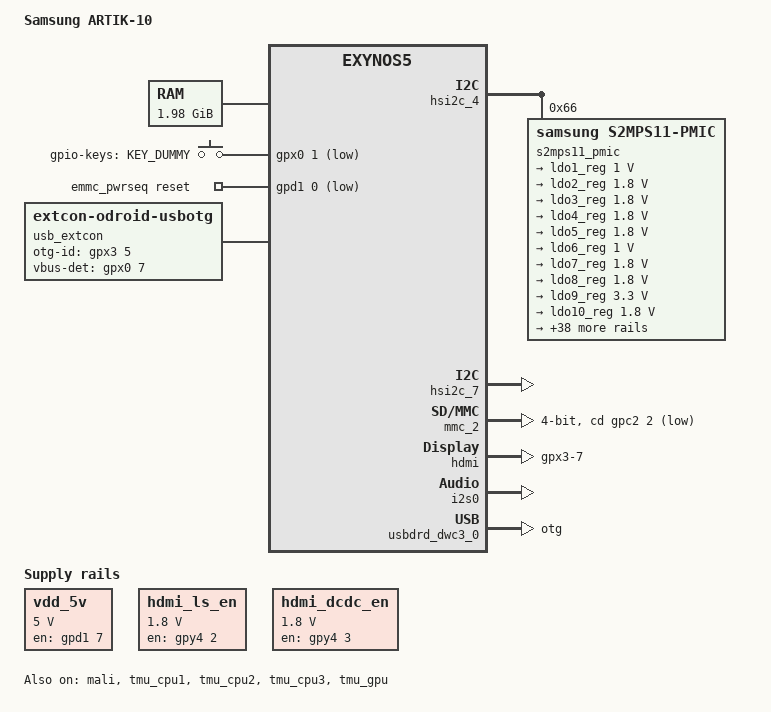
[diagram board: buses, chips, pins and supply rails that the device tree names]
/*
 * Samsung's Exynos5422-based ARTIK-10 board device tree source
 *
 * Copyright (c) 2015 Samsung Electronics Co., Ltd.
 *		http://www.samsung.com
 *
 * Device tree source file for Samsung's ARTIK-10 board which is based on
 * Samsung Exynos5422 SoC.
 *
 * This program is free software; you can redistribute it and/or modify
 * it under the terms of the GNU General Public License version 2 as
 * published by the Free Software Foundation.
 */

/dts-v1/;
#include <dt-bindings/sound/samsung-i2s.h>
#include "exynos5800.dtsi"

/ {
	model = "Samsung ARTIK-10";
	compatible = "samsung,artik-10", "samsung,exynos5800", "samsung,exynos5";

	memory {
		reg = <0x40000000 0x7EA00000>;
	};

	chosen {
		bootargs = "console=ttySAC3,115200N8 root=/dev/mmcblk0p2 rootwait earlyprintk drm_kms_helper.edid_firmware=edid/1920x1080.bin";
	};

	firmware@02073000 {
		compatible = "samsung,secure-firmware";
		reg = <0x02073000 0x1000>;
	};

	fixed-rate-clocks {
		oscclk {
			compatible = "samsung,exynos5420-oscclk";
			clock-frequency = <24000000>;
		};
	};

	gpio_keys {
		compatible = "gpio-keys";
		#address-cells = <1>;
		#size-cells = <0>;

		button@1 {
			label = "gpio-keys: KEY_DUMMY";
			interrupts = <1 0 0>;		/* dummy gpio interrupt */
			interrupt-parent = <&gpx0>;
			linux,code = <116>;
			gpios = <&gpx0 1 0xf>;
		};
	};

	emmc_pwrseq: pwrseq {
		pinctrl-0 = <&emmc_nrst_pin>;
		pinctrl-names = "default";
		compatible = "mmc-pwrseq-emmc";
		reset-gpios = <&gpd1 0 1>;
	};

	regulators {
		compatible = "simple-bus";
		#address-cells = <1>;
		#size-cells = <0>;

		vdd_5v: voltage-regulator-0 {
			compatible = "regulator-fixed";
			regulator-name = "VDD_5V";
			regulator-min-microvolt = <5000000>;
			regulator-max-microvolt = <5000000>;
			gpio = <&gpd1 7 0>;
			enable-active-high;
			regulator-always-on;
		};

		hdmi_ls_en: voltage-regulator-1 {
			compatible = "regulator-fixed";
			regulator-name = "HDMI_LS_EN";
			regulator-min-microvolt = <1800000>;
			regulator-max-microvolt = <1800000>;
			gpio = <&gpy4 2 0>;
			enable-active-high;
			regulator-always-on;
		};

		hdmi_dcdc_en: voltage-regulator-2 {
			compatible = "regulator-fixed";
			regulator-name = "HDMI_DCDC_EN";
			regulator-min-microvolt = <1800000>;
			regulator-max-microvolt = <1800000>;
			gpio = <&gpy4 3 0>;
			enable-active-high;
			regulator-always-on;
		};
	};

	usb_extcon: usbotg {
		compatible = "extcon-odroid-usbotg";
		pinctrl-names = "default";
		pinctrl-0 = <&otg_ida &vbus_deta>;
		otg-id-gpio = <&gpx3 5 0>;
		vbus-det-gpio = <&gpx0 7 0>;
	};

	sound {
		compatible = "samsung,artikpro-hdmi";
		samsung,i2s-controller = <&i2s0>;
		samsung,model ="ARTIK-10";

		clocks = <&clock_audss EXYNOS_DOUT_AUD_BUS>;
		clock-names = "rclksrc";
	};
};

&hsi2c_4 {
	status = "okay";

	s2mps11_pmic@66 {
		compatible = "samsung,s2mps11-pmic";
		reg = <0x66>;
		s2mps11,buck2-ramp-delay = <12>;
		s2mps11,buck34-ramp-delay = <12>;
		s2mps11,buck16-ramp-delay = <12>;
		s2mps11,buck6-ramp-enable = <1>;
		s2mps11,buck2-ramp-enable = <1>;
		s2mps11,buck3-ramp-enable = <1>;
		s2mps11,buck4-ramp-enable = <1>;

		s2mps11_osc: clocks {
			#clock-cells = <1>;
			clock-output-names = "s2mps11_ap",
					"s2mps11_cp", "s2mps11_bt";
		};

		regulators {
			ldo1_reg: LDO1 {
				regulator-name = "PVDD_ALIVE_1V0";
				regulator-min-microvolt = <1000000>;
				regulator-max-microvolt = <1000000>;
				regulator-always-on;
			};

			ldo2_reg: LDO2 {
				regulator-name = "PVDD_ALIVE_1V8";
				regulator-min-microvolt = <1800000>;
				regulator-max-microvolt = <1800000>;
				regulator-always-on;
			};

			ldo3_reg: LDO3 {
				regulator-name = "PVDD_APIO_MMCON_1V8";
				regulator-min-microvolt = <1800000>;
				regulator-max-microvolt = <1800000>;
				regulator-always-on;
			};

			ldo4_reg: LDO4 {
				regulator-name = "PVDD_ADC_1V8";
				regulator-min-microvolt = <1800000>;
				regulator-max-microvolt = <1800000>;
				regulator-always-on;
			};

			ldo5_reg: LDO5 {
				regulator-name = "PVDD_PLL_1V8";
				regulator-min-microvolt = <1800000>;
				regulator-max-microvolt = <1800000>;
				regulator-always-on;
			};

			ldo6_reg: LDO6 {
				regulator-name = "PVDD_ANAIP_1V0";
				regulator-min-microvolt = <1000000>;
				regulator-max-microvolt = <1000000>;
				regulator-always-on;
			};

			ldo7_reg: LDO7 {
				regulator-name = "PVDD_ANAIP_1V8";
				regulator-min-microvolt = <1800000>;
				regulator-max-microvolt = <1800000>;
				regulator-always-on;
			};

			ldo8_reg: LDO8 {
				regulator-name = "PVDD_ABB_1V8";
				regulator-min-microvolt = <1800000>;
				regulator-max-microvolt = <1800000>;
				regulator-always-on;
			};

			ldo9_reg: LDO9 {
				regulator-name = "PVDD_USB_3V3";
				regulator-min-microvolt = <3300000>;
				regulator-max-microvolt = <3300000>;
				regulator-always-on;
			};

			ldo10_reg: LDO10 {
				regulator-name = "PVDD_PRE_1V8";
				regulator-min-microvolt = <1800000>;
				regulator-max-microvolt = <1800000>;
				regulator-always-on;
			};

			ldo11_reg: LDO11 {
				regulator-name = "PVDD_USB_1V0";
				regulator-min-microvolt = <1000000>;
				regulator-max-microvolt = <1000000>;
				regulator-always-on;
			};

			ldo12_reg: LDO12 {
				regulator-name = "PVDD_HSIC_1V8";
				regulator-min-microvolt = <1800000>;
				regulator-max-microvolt = <1800000>;
				regulator-always-on;
			};

			ldo13_reg: LDO13 {
				regulator-name = "PVDD_APIO_MMCOFF_2V8";
				regulator-min-microvolt = <2800000>;
				regulator-max-microvolt = <2800000>;
				regulator-always-on;
			};

			ldo14_reg: LDO14 {
				regulator-name = "PVDD_LDO14_3V0";
				regulator-min-microvolt = <3000000>;
				regulator-max-microvolt = <3000000>;
				regulator-always-on;
			};

			ldo15_reg: LDO15 {
				regulator-name = "PVDD_PERI_2V8";
				regulator-min-microvolt = <2800000>;
				regulator-max-microvolt = <2800000>;
				regulator-always-on;
			};

			ldo16_reg: LDO16 {
				regulator-name = "PVDD_LDO16_2V2";
				regulator-min-microvolt = <2200000>;
				regulator-max-microvolt = <2200000>;
				regulator-always-on;
			};

			ldo17_reg: LDO17 {
				regulator-name = "PVDD_LDO17_3V3";
				regulator-min-microvolt = <3300000>;
				regulator-max-microvolt = <3300000>;
				regulator-always-on;
			};

			ldo18_reg: LDO18 {
				regulator-name = "PVDD_LDO18_1V8";
				regulator-min-microvolt = <1800000>;
				regulator-max-microvolt = <1800000>;
				regulator-always-on;
			};

			ldo19_reg: LDO19 {
				regulator-name = "PVDD_LDO19_1V8";
				regulator-min-microvolt = <1800000>;
				regulator-max-microvolt = <1800000>;
				regulator-always-on;
			};

			ldo20_reg: LDO20 {
				regulator-name = "PVDD_BTWIFI_1V8";
				regulator-min-microvolt = <1800000>;
				regulator-max-microvolt = <1800000>;
				regulator-always-on;
			};

			ldo21_reg: LDO21 {
				regulator-name = "PVDD_CAM1IO_1V8";
				regulator-min-microvolt = <1800000>;
				regulator-max-microvolt = <1800000>;
				regulator-always-on;
			};

			ldo22_reg: LDO22 {
				regulator-name = "PVDD_LDO22_1V2";
				regulator-min-microvolt = <1200000>;
				regulator-max-microvolt = <1200000>;
				regulator-always-on;
			};

			ldo23_reg: LDO23 {
				regulator-name = "PVDD_MIFS_1V1";
				regulator-min-microvolt = <1100000>;
				regulator-max-microvolt = <1100000>;
				regulator-always-on;
			};

			ldo24_reg: LDO24 {
				regulator-name = "PVDD_LDO24_2V8";
				regulator-min-microvolt = <2800000>;
				regulator-max-microvolt = <2800000>;
				regulator-always-on;
			};

			ldo25_reg: LDO25 {
				regulator-name = "PVDD_LDO25";
				regulator-min-microvolt = <1000000>;
				regulator-max-microvolt = <1000000>;
				regulator-always-off;
			};

			ldo26_reg: LDO26 {
				regulator-name = "PVDD_CAM0_AF_2V8";
				regulator-min-microvolt = <2800000>;
				regulator-max-microvolt = <2800000>;
				regulator-always-on;
			};

			ldo_reg27: LDO27 {
				regulator-name = "PVDD_G2DS_1V0";
				regulator-min-microvolt = <1000000>;
				regulator-max-microvolt = <1000000>;
				regulator-always-on;
			};

			ldo28_reg: LDO28 {
				regulator-name = "PVDD_LDO28_2V8";
				regulator-min-microvolt = <2800000>;
				regulator-max-microvolt = <2800000>;
				regulator-always-on;
			};

			ldo29_reg: LDO29 {
				regulator-name = "PVDD_AUDIO_1V8";
				regulator-min-microvolt = <1800000>;
				regulator-max-microvolt = <1800000>;
				regulator-always-on;
			};

			ldo30_reg: LDO30 {
				regulator-name = "PVDD_LCD30_1V8";
				regulator-min-microvolt = <1800000>;
				regulator-max-microvolt = <1800000>;
				regulator-always-on;
			};

			ldo31_reg: LDO31 {
				regulator-name = "PVDD_PVD_PERI_1V8";
				regulator-min-microvolt = <1800000>;
				regulator-max-microvolt = <1800000>;
				regulator-always-on;
			};

			ldo32_reg: LDO32 {
				regulator-name = "PVDD_LCD_1V8";
				regulator-min-microvolt = <1800000>;
				regulator-max-microvolt = <1800000>;
				regulator-always-on;
			};

			ldo33_reg: LDO33 {
				regulator-name = "PVDD_CAM0IO_1V8";
				regulator-min-microvolt = <1800000>;
				regulator-max-microvolt = <1800000>;
				regulator-always-on;
			};

			ldo34_reg: LDO34 {
				regulator-name = "PVDD_LDO34_3V3";
				regulator-min-microvolt = <3300000>;
				regulator-max-microvolt = <3300000>;
				regulator-always-on;
			};

			ldo35_reg: LDO35 {
				regulator-name = "PVDD_CAM0_DVDD_1V2";
				regulator-min-microvolt = <1200000>;
				regulator-max-microvolt = <1200000>;
				regulator-always-on;
			};

			ldo36_reg: LDO36 {
				regulator-name = "PVDD_LDO36_1V8";
				regulator-min-microvolt = <1800000>;
				regulator-max-microvolt = <1800000>;
				regulator-always-on;
			};

			ldo37_reg: LDO37 {
				regulator-name = "PVDD_LDO37_1V8";
				regulator-min-microvolt = <1800000>;
				regulator-max-microvolt = <1800000>;
				regulator-always-on;
			};

			ldo38_reg: LDO38 {
				regulator-name = "PVDD_CAM0_AVDD_2V8";
				regulator-min-microvolt = <2800000>;
				regulator-max-microvolt = <2800000>;
				regulator-always-on;
			};



			buck1_reg: BUCK1 {
				regulator-name = "PVDD_MIF_1V1";
				regulator-min-microvolt = <800000>;
				regulator-max-microvolt = <1300000>;
				regulator-always-on;
				regulator-boot-on;
			};

			buck2_reg: BUCK2 {
				regulator-name = "PVDD_ARM_1V0";
				regulator-min-microvolt = <800000>;
				regulator-max-microvolt = <1500000>;
				regulator-always-on;
				regulator-boot-on;
			};

			buck3_reg: BUCK3 {
				regulator-name = "PVDD_INT_1V0";
				regulator-min-microvolt = <800000>;
				regulator-max-microvolt = <1400000>;
				regulator-always-on;
				regulator-boot-on;
			};

			buck4_reg: BUCK4 {
				regulator-name = "PVDD_G3D_1V0";
				regulator-min-microvolt = <800000>;
				regulator-max-microvolt = <1400000>;
				regulator-always-on;
				regulator-boot-on;
			};

			buck5_reg: BUCK5 {
				regulator-name = "PVDD_LPDDR3_1V2";
				regulator-min-microvolt = <800000>;
				regulator-max-microvolt = <1400000>;
				regulator-always-on;
				regulator-boot-on;
			};

			buck6_reg: BUCK6 {
				regulator-name = "PVDD_KFC_1V0";
				regulator-min-microvolt = <800000>;
				regulator-max-microvolt = <1500000>;
				regulator-always-on;
				regulator-boot-on;
			};

			buck7_reg: BUCK7 {
				regulator-name = "VIN_LLDO_1V4";
				regulator-min-microvolt = <800000>;
				regulator-max-microvolt = <1500000>;
				regulator-always-on;
				regulator-boot-on;
			};

			buck8_reg: BUCK8 {
				regulator-name = "VIN_MLDO_2V0";
				regulator-min-microvolt = <800000>;
				regulator-max-microvolt = <1500000>;
				regulator-always-on;
				regulator-boot-on;
			};

			buck9_reg: BUCK9 {
				regulator-name = "BUCK9";
				regulator-min-microvolt = <3000000>;
				regulator-max-microvolt = <3750000>;
				regulator-always-on;
				regulator-boot-on;
			};

			buck10_reg: BUCK10 {
				regulator-name = "PVDD_CAM_1V0";
				regulator-min-microvolt = <1000000>;
				regulator-max-microvolt = <1000000>;
				regulator-always-on;
				regulator-boot-on;
			};
		};
	};
};

&hsi2c_7 {
	status = "okay";
	samsung,i2c-sda-delay = <100>;
	samsung,i2c-max-bus-freq = <66000>;
	samsung,i2c-slave-addr = <0x50>;
};

&mali {
	status = "okay";
	vdd_g3d-supply = <&buck4_reg>;
};

&mmc_2 {
	status = "okay";
	card-detect-delay = <200>;
	samsung,dw-mshc-ciu-div = <3>;
	samsung,dw-mshc-sdr-timing = <0 4>;
	samsung,dw-mshc-ddr-timing = <0 2>;
	pinctrl-names = "default";
	cd-gpios = <&gpc2 2 0>;
	cd-inverted;
	pinctrl-0 = <&sd2_clk &sd2_cmd &sd2_bus1 &sd2_bus4>;
	bus-width = <4>;
	cap-sd-highspeed;
};

&gsc_0 {
	samsung,lcd-wb;
};

&gsc_1 {
	samsung,lcd-wb;
};

&hdmi {
	status = "okay";
	hpd-gpio = <&gpx3 7 0>;
	pinctrl-names = "default";
	pinctrl-0 = <&hdmi_hpd_irq>;
	ddc = <&hsi2c_7>;

	vdd_osc-supply = <&ldo7_reg>;
	vdd_pll-supply = <&ldo6_reg>;
	vdd-supply = <&hdmi_dcdc_en>;
	hdmi-en-supply = <&hdmi_ls_en>;
};

&i2s0 {
	status = "okay";

	assigned-clocks = <&clock_audss EXYNOS_MOUT_AUDSS>,
			<&clock CLK_MOUT_EPLL>,
			<&clock CLK_FOUT_EPLL>;
	assigned-clock-rates = <0>, <0>, <45250000>;
	assigned-clock-parents = <&clock CLK_MAU_EPLL>,
			<&clock CLK_FOUT_EPLL>;
};

&pinctrl_0 {
	hdmi_hpd_irq: hdmi-hpd-irq {
		samsung,pins = "gpx3-7";
		samsung,pin-function = <0>;
		samsung,pin-pud = <1>;
		samsung,pin-drv = <0>;
	};

	otg_ida: otg-ida {
		samsung,pins = "gpx3-5";
		samsung,pin-pud = <0>;
	};

	vbus_deta: vbus-deta {
		samsung,pins = "gpx0-7";
		samsung,pin-pud = <0>;
	};
};

&pinctrl_1 {
	emmc_nrst_pin: emmc-nrst {
		samsung,pins = "gpd1-0";
		samsung,pin-function = <0>;
		samsung,pin-pud = <0>;
		samsung,pin-drv = <0>;
	};
};

&usbdrd3_0 {
	extcon = <&usb_extcon>;
};

&usbdrd_dwc3_0 {
	dr_mode = "otg";
};

&usbdrd3_1 {
	status = "disabled";
};

&tmu_cpu1 {
	status = "okay";
};

&tmu_cpu2 {
	status = "okay";
};

&tmu_cpu3 {
	status = "okay";
};

&tmu_gpu {
	status = "okay";
};
